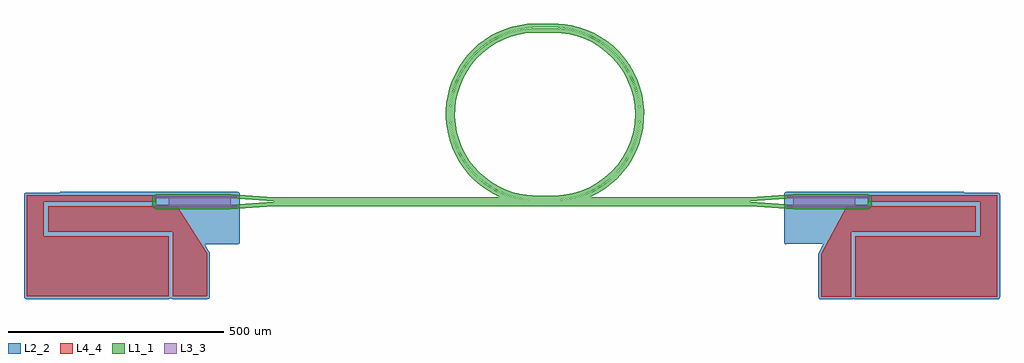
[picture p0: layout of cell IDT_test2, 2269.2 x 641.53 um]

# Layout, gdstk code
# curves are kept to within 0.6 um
import gdstk
lib = gdstk.Library(unit=1e-6, precision=1e-09)
def P(c, l, *ps):  # polygons
    for p in ps: c.add(gdstk.Polygon(p, *l))
L1_1 = (1, 1)
L2_2 = (2, 2)
L3_3 = (3, 3)
L4_4 = (4, 4)

idt_test2 = lib.new_cell('IDT_test2')
P(idt_test2, L1_1, [(-1552.58,-12.702),(-1557.944,-10.48),(-1561.169,-5.653),(-1561.552,13.23),(-1558.671,19.321),(-1555.427,21.489),(-1551.6,22.25),(-1378.8,22.25),(-1278.455,15.35),(-752.446,15.35),(-768.448,23.132),(-784.098,32.477),(-798.784,43.064),(-812.596,54.958),(-825.329,68.002),(-836.886,82.098),(-847.18,97.14),(-854.999,110.812),(-862.743,127.313),(-869.031,144.422),(-873.788,161.89),(-877.045,179.824),(-878.739,197.973),(-878.857,216.201),(-877.399,234.37),(-874.877,249.916),(-870.518,267.615),(-864.645,284.871),(-857.357,301.443),(-848.608,317.434),(-838.509,332.609),(-828.755,344.973),(-816.349,358.328),(-802.93,370.481),(-788.415,381.507),(-773.001,391.237),(-759.049,398.542),(-742.272,405.669),(-725,411.299),(-725,400.898),(-741.137,395.398),(-757.03,388.408),(-770.129,381.342),(-784.698,371.898),(-796.497,362.825),(-809.366,351.17),(-821.179,338.446),(-831.848,324.748),(-841.292,310.179),(-848.358,297.08),(-859.486,269.494),(-864.049,252.742),(-866.795,238.114),(-869,208.45),(-866.795,178.786),(-864.049,164.158),(-859.486,147.406),(-848.358,119.82),(-841.292,106.721),(-831.848,92.152),(-822.775,80.353),(-811.12,67.484),(-798.396,55.671),(-784.698,45.002),(-770.129,35.558),(-757.03,28.492),(-741.137,21.502),(-725,16.002),(-725,5.35),(-1278.8,5.35),(-1378.8,12.25),(-1551.6,12.25),(-1551.6,-2.75),(-1378.8,-2.75),(-1278.8,4.15),(-725,4.15),(-725,-5.85),(-1278.455,-5.85),(-1378.8,-12.75)],
  [(-707.309,415.424),(-689.266,418.014),(-671.067,419.033),(-618.047,418.795),(-602.48,417.449),(-587.055,414.952),(-569.354,410.603),(-552.095,404.74),(-535.407,397.407),(-519.416,388.658),(-504.241,378.559),(-489.904,367.104),(-474.993,352.736),(-463.014,338.834),(-451.01,321.962),(-441.859,306.198),(-434.057,289.587),(-427.769,272.478),(-422.451,252.466),(-419.417,234.493),(-417.943,216.201),(-418.199,195.496),(-420.125,177.246),(-424.196,156.944),(-429.455,139.362),(-436.174,122.418),(-445.552,103.957),(-455.272,88.537),(-466.369,73.92),(-480.363,58.659),(-493.966,46.34),(-510.535,33.922),(-526.176,24.324),(-544.354,15.35),(-171.545,15.35),(-71.2,22.25),(101.6,22.25),(105.427,21.489),(108.671,19.321),(110.839,16.077),(111.6,12.25),(111.6,-2.75),(110.839,-6.577),(107.156,-11.065),(101.6,-12.75),(-71.2,-12.75),(-171.545,-5.85),(-725,-5.85),(-725,4.15),(-171.2,4.15),(-71.2,-2.75),(101.6,-2.75),(101.6,12.25),(-71.2,12.25),(-171.2,5.35),(-725,5.35),(-725,16.002),(-700.516,10.438),(-675.842,7.988),(-620.958,7.988),(-593.838,10.85),(-572.101,15.912),(-553.356,22.416),(-535.346,30.739),(-518.245,40.801),(-500.303,54.075),(-482.237,71.058),(-466.403,90.139),(-454.263,108.867),(-443.308,131.111),(-435.862,152.151),(-430.388,176.334),(-427.938,201.008),(-428.551,225.796),(-431.715,247.889),(-438.083,271.853),(-446.304,292.602),(-458.077,314.424),(-472.452,334.627),(-489.21,352.903),(-506.118,367.471),(-528.817,382.587),(-551.061,393.542),(-574.487,401.669),(-598.736,406.845),(-623.438,408.989),(-678.32,408.805),(-702.962,406.05),(-725,400.898),(-725,411.299)],
  [(-668.4,9.05),(-688.098,10.025),(-707.603,12.942),(-726.725,17.771),(-747.546,25.43),(-765.239,34.144),(-784.002,45.98),(-799.487,58.195),(-813.689,71.879),(-826.469,86.9),(-837.704,103.11),(-847.282,120.35),(-855.11,138.452),(-861.112,157.239),(-865.608,178.963),(-867.556,198.589),(-867.556,218.311),(-865.608,237.937),(-861.73,257.274),(-855.961,276.134),(-848.358,294.331),(-838.994,311.688),(-827.961,328.036),(-813.689,345.021),(-799.487,358.705),(-784.002,370.92),(-765.239,382.756),(-747.546,391.47),(-729.079,398.393),(-710.018,403.458),(-690.551,406.616),(-673.332,407.789),(-648.419,407.85),(-648.419,397.783),(-675.426,397.719),(-694.089,396.1),(-710.219,393.175),(-728.263,388.141),(-745.721,381.348),(-762.423,372.864),(-778.205,362.772),(-792.913,351.17),(-806.402,338.171),(-818.542,323.904),(-829.213,308.507),(-838.311,292.132),(-845.746,274.938),(-851.447,257.093),(-855.357,238.773),(-857.279,222.493),(-857.742,203.765),(-856.353,185.084),(-853.125,166.631),(-848.091,148.587),(-841.298,131.129),(-832.814,114.427),(-824.068,100.562),(-812.649,85.712),(-799.818,72.063),(-787.532,61.21),(-772.404,50.161),(-756.259,40.661),(-741.421,33.692),(-723.8,27.334),(-707.931,23.222),(-691.766,20.497),(-677.767,19.282),(-648.419,19.159),(-648.419,9.05)],
  [(-648.4,9.05),(-648.419,19.159),(-626.057,19.065),(-605.034,20.497),(-584.299,24.256),(-564.111,30.295),(-544.718,38.539),(-526.361,48.887),(-509.268,61.21),(-493.648,75.355),(-479.697,91.148),(-467.587,108.393),(-457.467,126.876),(-449.464,146.369),(-443.675,166.631),(-440.172,187.41),(-439,208.45),(-440.172,229.49),(-443.675,250.269),(-448.709,268.313),(-456.471,287.904),(-466.362,306.511),(-476.841,322.038),(-490.398,338.171),(-505.662,352.699),(-520.512,364.118),(-538.473,375.139),(-555.379,383.208),(-573,389.566),(-591.163,394.153),(-609.69,396.923),(-648.419,397.783),(-648.419,407.85),(-608.702,406.875),(-589.197,403.958),(-570.075,399.129),(-551.524,392.435),(-533.724,383.94),(-516.852,373.729),(-501.07,361.902),(-486.534,348.572),(-473.385,333.873),(-461.754,317.946),(-451.752,300.948),(-443.479,283.045),(-437.014,264.412),(-432.422,245.232),(-429.975,228.148),(-429,208.45),(-429.975,188.752),(-432.422,171.668),(-437.014,152.488),(-443.479,133.855),(-451.752,115.952),(-461.754,98.954),(-473.385,83.027),(-486.534,68.328),(-501.07,54.998),(-516.852,43.171),(-533.724,32.96),(-551.524,24.465),(-570.075,17.771),(-589.197,12.942),(-606.249,10.284),(-623.468,9.111)])
P(idt_test2, L2_2, [(68.6,-219.815),(66.428,-221.792),(63.6,-222.5),(-6.4,-222.5),(-9.228,-221.792),(-11.389,-219.833),(-12.4,-216.5),(-12.371,-115.906),(-1.329,-94.5),(-86.4,-94.5),(-89.228,-93.792),(-91.389,-91.833),(-92.4,-88.5),(-92.4,21.5),(-91.692,24.328),(-89.733,26.489),(-86.4,27.5),(323.6,27.5),(328.063,25.5),(404.188,25.471),(408.589,22.833),(409.6,19.5),(409.6,-216.5),(408.892,-219.328),(406.933,-221.489),(403.6,-222.5),(73.6,-222.5),(70.772,-221.792)],
  [(-1778.063,25.5),(-1773.6,27.5),(-1361.858,27.242),(-1358.611,24.833),(-1357.6,21.5),(-1357.858,-90.242),(-1359.794,-93.138),(-1363.012,-94.471),(-1439.852,-94.5),(-1427.627,-114.934),(-1427.6,-215.5),(-1428.611,-218.833),(-1431.858,-221.242),(-1513.6,-221.5),(-1516.428,-220.792),(-1518.6,-218.815),(-1520.772,-220.792),(-1523.6,-221.5),(-1855.342,-221.242),(-1858.589,-218.833),(-1859.6,-215.5),(-1859.342,21.242),(-1857.406,24.138),(-1854.188,25.471)])
P(idt_test2, L3_3, [(-1498.6,-3),(-1498.6,11.75),(-1498.155,11.75),(-1498.155,-3),(-1496.8,-3),(-1496.8,11.75),(-1496.355,11.75),(-1496.355,-3),(-1495,-3),(-1495,11.75),(-1494.555,11.75),(-1494.555,-3),(-1493.2,-3),(-1493.2,11.75),(-1492.755,11.75),(-1492.755,-3),(-1491.4,-3),(-1491.4,11.75),(-1490.955,11.75),(-1490.955,-3),(-1489.6,-3),(-1489.6,11.75),(-1489.155,11.75),(-1489.155,-3),(-1487.8,-3),(-1487.8,11.75),(-1487.355,11.75),(-1487.355,-3),(-1486,-3),(-1486,11.75),(-1485.555,11.75),(-1485.555,-3),(-1484.2,-3),(-1484.2,11.75),(-1483.755,11.75),(-1483.755,-3),(-1482.4,-3),(-1482.4,11.75),(-1481.955,11.75),(-1481.955,-3),(-1480.6,-3),(-1480.6,11.75),(-1480.155,11.75),(-1480.155,-3),(-1478.8,-3),(-1478.8,11.75),(-1478.355,11.75),(-1478.355,-3),(-1477,-3),(-1477,11.75),(-1476.555,11.75),(-1476.555,-3),(-1475.2,-3),(-1475.2,11.75),(-1474.755,11.75),(-1474.755,-3),(-1473.4,-3),(-1473.4,11.75),(-1472.955,11.75),(-1472.955,-3),(-1471.6,-3),(-1471.6,11.75),(-1471.155,11.75),(-1471.155,-3),(-1469.8,-3),(-1469.8,11.75),(-1469.355,11.75),(-1469.355,-3),(-1468,-3),(-1468,11.75),(-1467.555,11.75),(-1467.555,-3),(-1466.2,-3),(-1466.2,11.75),(-1465.755,11.75),(-1465.755,-3),(-1464.4,-3),(-1464.4,11.75),(-1463.955,11.75),(-1463.955,-3),(-1462.6,-3),(-1462.6,11.75),(-1462.155,11.75),(-1462.155,-3),(-1460.8,-3),(-1460.8,11.75),(-1460.355,11.75),(-1460.355,-3),(-1459,-3),(-1459,11.75),(-1458.555,11.75),(-1458.555,-3),(-1457.2,-3),(-1457.2,11.75),(-1456.755,11.75),(-1456.755,-3),(-1455.4,-3),(-1455.4,11.75),(-1454.955,11.75),(-1454.955,-3),(-1453.6,-3),(-1453.6,11.75),(-1453.155,11.75),(-1453.155,-3),(-1451.8,-3),(-1451.8,11.75),(-1451.355,11.75),(-1451.355,-3),(-1450,-3),(-1450,11.75),(-1449.555,11.75),(-1449.555,-3),(-1448.2,-3),(-1448.2,11.75),(-1447.755,11.75),(-1447.755,-3),(-1446.4,-3),(-1446.4,11.75),(-1445.955,11.75),(-1445.955,-3),(-1444.6,-3),(-1444.6,11.75),(-1444.155,11.75),(-1444.155,-3),(-1442.8,-3),(-1442.8,11.75),(-1442.355,11.75),(-1442.355,-3),(-1441,-3),(-1441,11.75),(-1440.555,11.75),(-1440.555,-3),(-1439.2,-3),(-1439.2,11.75),(-1438.755,11.75),(-1438.755,-3),(-1437.4,-3),(-1437.4,11.75),(-1436.955,11.75),(-1436.955,-3),(-1435.6,-3),(-1435.6,11.75),(-1435.155,11.75),(-1435.155,-3),(-1433.8,-3),(-1433.8,11.75),(-1433.355,11.75),(-1433.355,-3),(-1432,-3),(-1432,11.75),(-1431.555,11.75),(-1431.555,-3),(-1430.2,-3),(-1430.2,11.75),(-1429.755,11.75),(-1429.755,-3),(-1428.4,-3),(-1428.4,11.75),(-1427.955,11.75),(-1427.955,-3),(-1426.6,-3),(-1426.6,11.75),(-1426.155,11.75),(-1426.155,-3),(-1424.8,-3),(-1424.8,11.75),(-1424.355,11.75),(-1424.355,-3),(-1423,-3),(-1423,11.75),(-1422.555,11.75),(-1422.555,-3),(-1421.2,-3),(-1421.2,11.75),(-1420.755,11.75),(-1420.755,-3),(-1419.4,-3),(-1419.4,11.75),(-1418.955,11.75),(-1418.955,-3),(-1417.6,-3),(-1417.6,11.75),(-1417.155,11.75),(-1417.155,-3),(-1415.8,-3),(-1415.8,11.75),(-1415.355,11.75),(-1415.355,-3),(-1414,-3),(-1414,11.75),(-1413.555,11.75),(-1413.555,-3),(-1412.2,-3),(-1412.2,11.75),(-1411.755,11.75),(-1411.755,-3),(-1410.4,-3),(-1410.4,11.75),(-1409.955,11.75),(-1409.955,-3),(-1408.6,-3),(-1408.6,11.75),(-1408.155,11.75),(-1408.155,-3),(-1406.8,-3),(-1406.8,11.75),(-1406.355,11.75),(-1406.355,-3),(-1405,-3),(-1405,11.75),(-1404.555,11.75),(-1404.555,-3),(-1403.2,-3),(-1403.2,11.75),(-1402.755,11.75),(-1402.755,-3),(-1401.4,-3),(-1401.4,11.75),(-1400.955,11.75),(-1400.955,-3),(-1399.6,-3),(-1399.6,11.75),(-1399.155,11.75),(-1399.155,-3),(-1397.8,-3),(-1397.8,11.75),(-1397.355,11.75),(-1397.355,-3),(-1396,-3),(-1396,11.75),(-1395.555,11.75),(-1395.555,-3),(-1394.2,-3),(-1394.2,11.75),(-1393.755,11.75),(-1393.755,-3),(-1392.4,-3),(-1392.4,11.75),(-1391.955,11.75),(-1391.955,-3),(-1390.6,-3),(-1390.6,11.75),(-1390.155,11.75),(-1390.155,-3),(-1388.8,-3),(-1388.8,11.75),(-1388.355,11.75),(-1388.355,-3),(-1387,-3),(-1387,11.75),(-1386.555,11.75),(-1386.555,-3),(-1385.2,-3),(-1385.2,11.75),(-1384.755,11.75),(-1384.755,-3),(-1383.4,-3),(-1383.4,11.75),(-1382.955,11.75),(-1382.955,-3),(-1381.6,-3),(-1381.6,11.75),(-1381.155,11.75),(-1381.155,-3),(-1379.8,-3),(-1379.8,11.75),(-1379.355,11.75),(-1379.355,-3),(-1363.6,-3),(-1363.6,-8),(-1555.6,-8),(-1555.6,-3),(-1522,-3),(-1522,11.75),(-1521.555,11.75),(-1521.555,-3),(-1520.2,-3),(-1520.2,11.75),(-1519.755,11.75),(-1519.755,-3),(-1518.4,-3),(-1518.4,11.75),(-1517.955,11.75),(-1517.955,-3),(-1516.6,-3),(-1516.6,11.75),(-1516.155,11.75),(-1516.155,-3),(-1514.8,-3),(-1514.8,11.75),(-1514.355,11.75),(-1514.355,-3),(-1513,-3),(-1513,11.75),(-1512.555,11.75),(-1512.555,-3),(-1511.2,-3),(-1511.2,11.75),(-1510.755,11.75),(-1510.755,-3),(-1509.4,-3),(-1509.4,11.75),(-1508.955,11.75),(-1508.955,-3),(-1507.6,-3),(-1507.6,11.75),(-1507.155,11.75),(-1507.155,-3),(-1505.8,-3),(-1505.8,11.75),(-1505.355,11.75),(-1505.355,-3),(-1504,-3),(-1504,11.75),(-1503.555,11.75),(-1503.555,-3),(-1502.2,-3),(-1502.2,11.75),(-1501.755,11.75),(-1501.755,-3),(-1500.4,-3),(-1500.4,11.75),(-1499.955,11.75),(-1499.955,-3),(-1498.6,-3)],
  [(-68.845,11.75),(-68.4,11.75),(-68.4,-3),(-67.045,-3),(-67.045,11.75),(-66.6,11.75),(-66.6,-3),(-65.245,-3),(-65.245,11.75),(-64.8,11.75),(-64.8,-3),(-63.445,-3),(-63.445,11.75),(-63,11.75),(-63,-3),(-61.645,-3),(-61.645,11.75),(-61.2,11.75),(-61.2,-3),(-59.845,-3),(-59.845,11.75),(-59.4,11.75),(-59.4,-3),(-58.045,-3),(-58.045,11.75),(-57.6,11.75),(-57.6,-3),(-56.245,-3),(-56.245,11.75),(-55.8,11.75),(-55.8,-3),(-54.445,-3),(-54.445,11.75),(-54,11.75),(-54,-3),(-52.645,-3),(-52.645,11.75),(-52.2,11.75),(-52.2,-3),(-50.845,-3),(-50.845,11.75),(-50.4,11.75),(-50.4,-3),(-49.045,-3),(-49.045,11.75),(-48.6,11.75),(-48.6,-3),(-47.245,-3),(-47.245,11.75),(-46.8,11.75),(-46.8,-3),(-45.445,-3),(-45.445,11.75),(-45,11.75),(-45,-3),(-43.645,-3),(-43.645,11.75),(-43.2,11.75),(-43.2,-3),(-41.845,-3),(-41.845,11.75),(-41.4,11.75),(-41.4,-3),(-40.045,-3),(-40.045,11.75),(-39.6,11.75),(-39.6,-3),(-38.245,-3),(-38.245,11.75),(-37.8,11.75),(-37.8,-3),(-36.445,-3),(-36.445,11.75),(-36,11.75),(-36,-3),(-34.645,-3),(-34.645,11.75),(-34.2,11.75),(-34.2,-3),(-32.845,-3),(-32.845,11.75),(-32.4,11.75),(-32.4,-3),(-31.045,-3),(-31.045,11.75),(-30.6,11.75),(-30.6,-3),(-29.245,-3),(-29.245,11.75),(-28.8,11.75),(-28.8,-3),(-27.445,-3),(-27.445,11.75),(-27,11.75),(-27,-3),(-25.645,-3),(-25.645,11.75),(-25.2,11.75),(-25.2,-3),(-23.845,-3),(-23.845,11.75),(-23.4,11.75),(-23.4,-3),(-22.045,-3),(-22.045,11.75),(-21.6,11.75),(-21.6,-3),(-20.245,-3),(-20.245,11.75),(-19.8,11.75),(-19.8,-3),(-18.445,-3),(-18.445,11.75),(-18,11.75),(-18,-3),(-16.645,-3),(-16.645,11.75),(-16.2,11.75),(-16.2,-3),(-14.845,-3),(-14.845,11.75),(-14.4,11.75),(-14.4,-3),(-13.045,-3),(-13.045,11.75),(-12.6,11.75),(-12.6,-3),(-11.245,-3),(-11.245,11.75),(-10.8,11.75),(-10.8,-3),(-9.445,-3),(-9.445,11.75),(-9,11.75),(-9,-3),(-7.645,-3),(-7.645,11.75),(-7.2,11.75),(-7.2,-3),(-5.845,-3),(-5.845,11.75),(-5.4,11.75),(-5.4,-3),(-4.045,-3),(-4.045,11.75),(-3.6,11.75),(-3.6,-3),(-2.245,-3),(-2.245,11.75),(-1.8,11.75),(-1.8,-3),(-0.445,-3),(-0.445,11.75),(0,11.75),(0,-3),(1.355,-3),(1.355,11.75),(1.8,11.75),(1.8,-3),(3.155,-3),(3.155,11.75),(3.6,11.75),(3.6,-3),(4.955,-3),(4.955,11.75),(5.4,11.75),(5.4,-3),(6.755,-3),(6.755,11.75),(7.2,11.75),(7.2,-3),(8.555,-3),(8.555,11.75),(9,11.75),(9,-3),(10.355,-3),(10.355,11.75),(10.8,11.75),(10.8,-3),(12.155,-3),(12.155,11.75),(12.6,11.75),(12.6,-3),(13.955,-3),(13.955,11.75),(14.4,11.75),(14.4,-3),(15.755,-3),(15.755,11.75),(16.2,11.75),(16.2,-3),(17.555,-3),(17.555,11.75),(18,11.75),(18,-3),(19.355,-3),(19.355,11.75),(19.8,11.75),(19.8,-3),(21.155,-3),(21.155,11.75),(21.6,11.75),(21.6,-3),(22.955,-3),(22.955,11.75),(23.4,11.75),(23.4,-3),(24.755,-3),(24.755,11.75),(25.2,11.75),(25.2,-3),(26.555,-3),(26.555,11.75),(27,11.75),(27,-3),(28.355,-3),(28.355,11.75),(28.8,11.75),(28.8,-3),(30.155,-3),(30.155,11.75),(30.6,11.75),(30.6,-3),(31.955,-3),(31.955,11.75),(32.4,11.75),(32.4,-3),(33.755,-3),(33.755,11.75),(34.2,11.75),(34.2,-3),(35.555,-3),(35.555,11.75),(36,11.75),(36,-3),(37.355,-3),(37.355,11.75),(37.8,11.75),(37.8,-3),(39.155,-3),(39.155,11.75),(39.6,11.75),(39.6,-3),(40.955,-3),(40.955,11.75),(41.4,11.75),(41.4,-3),(42.755,-3),(42.755,11.75),(43.2,11.75),(43.2,-3),(44.555,-3),(44.555,11.75),(45,11.75),(45,-3),(46.355,-3),(46.355,11.75),(46.8,11.75),(46.8,-3),(48.155,-3),(48.155,11.75),(48.6,11.75),(48.6,-3),(49.955,-3),(49.955,11.75),(50.4,11.75),(50.4,-3),(51.755,-3),(51.755,11.75),(52.2,11.75),(52.2,-3),(53.555,-3),(53.555,11.75),(54,11.75),(54,-3),(55.355,-3),(55.355,11.75),(55.8,11.75),(55.8,-3),(57.155,-3),(57.155,11.75),(57.6,11.75),(57.6,-3),(58.955,-3),(58.955,11.75),(59.4,11.75),(59.4,-3),(60.755,-3),(60.755,11.75),(61.2,11.75),(61.2,-3),(62.555,-3),(62.555,11.75),(63,11.75),(63,-3),(64.355,-3),(64.355,11.75),(64.8,11.75),(64.8,-3),(66.155,-3),(66.155,11.75),(66.6,11.75),(66.6,-3),(67.955,-3),(67.955,11.75),(68.4,11.75),(68.4,-3),(69.755,-3),(69.755,11.75),(70.2,11.75),(70.2,-3),(71.555,-3),(71.555,11.75),(72,11.75),(72,-3),(105.6,-3),(105.6,-8),(-86.4,-8),(-86.4,-3),(-70.645,-3),(-70.645,11.75),(-70.2,11.75),(-70.2,-3),(-68.845,-3),(-68.845,11.75)],
  [(-1495.455,-2.25),(-1495.9,-2.25),(-1495.9,12.5),(-1497.255,12.5),(-1497.255,-2.25),(-1497.7,-2.25),(-1497.7,12.5),(-1499.055,12.5),(-1499.055,-2.25),(-1499.5,-2.25),(-1499.5,12.5),(-1500.855,12.5),(-1500.855,-2.25),(-1501.3,-2.25),(-1501.3,12.5),(-1502.655,12.5),(-1502.655,-2.25),(-1503.1,-2.25),(-1503.1,12.5),(-1504.455,12.5),(-1504.455,-2.25),(-1504.9,-2.25),(-1504.9,12.5),(-1506.255,12.5),(-1506.255,-2.25),(-1506.7,-2.25),(-1506.7,12.5),(-1508.055,12.5),(-1508.055,-2.25),(-1508.5,-2.25),(-1508.5,12.5),(-1509.855,12.5),(-1509.855,-2.25),(-1510.3,-2.25),(-1510.3,12.5),(-1511.655,12.5),(-1511.655,-2.25),(-1512.1,-2.25),(-1512.1,12.5),(-1513.455,12.5),(-1513.455,-2.25),(-1513.9,-2.25),(-1513.9,12.5),(-1515.255,12.5),(-1515.255,-2.25),(-1515.7,-2.25),(-1515.7,12.5),(-1517.055,12.5),(-1517.055,-2.25),(-1517.5,-2.25),(-1517.5,12.5),(-1518.855,12.5),(-1518.855,-2.25),(-1519.3,-2.25),(-1519.3,12.5),(-1520.655,12.5),(-1520.655,-2.25),(-1521.1,-2.25),(-1521.1,12.5),(-1522.455,12.5),(-1522.455,-2.25),(-1522.9,-2.25),(-1522.9,12.5),(-1555.6,12.5),(-1555.6,17.5),(-1363.6,17.5),(-1363.6,12.5),(-1380.255,12.5),(-1380.255,-2.25),(-1380.7,-2.25),(-1380.7,12.5),(-1382.055,12.5),(-1382.055,-2.25),(-1382.5,-2.25),(-1382.5,12.5),(-1383.855,12.5),(-1383.855,-2.25),(-1384.3,-2.25),(-1384.3,12.5),(-1385.655,12.5),(-1385.655,-2.25),(-1386.1,-2.25),(-1386.1,12.5),(-1387.455,12.5),(-1387.455,-2.25),(-1387.9,-2.25),(-1387.9,12.5),(-1389.255,12.5),(-1389.255,-2.25),(-1389.7,-2.25),(-1389.7,12.5),(-1391.055,12.5),(-1391.055,-2.25),(-1391.5,-2.25),(-1391.5,12.5),(-1392.855,12.5),(-1392.855,-2.25),(-1393.3,-2.25),(-1393.3,12.5),(-1394.655,12.5),(-1394.655,-2.25),(-1395.1,-2.25),(-1395.1,12.5),(-1396.455,12.5),(-1396.455,-2.25),(-1396.9,-2.25),(-1396.9,12.5),(-1398.255,12.5),(-1398.255,-2.25),(-1398.7,-2.25),(-1398.7,12.5),(-1400.055,12.5),(-1400.055,-2.25),(-1400.5,-2.25),(-1400.5,12.5),(-1401.855,12.5),(-1401.855,-2.25),(-1402.3,-2.25),(-1402.3,12.5),(-1403.655,12.5),(-1403.655,-2.25),(-1404.1,-2.25),(-1404.1,12.5),(-1405.455,12.5),(-1405.455,-2.25),(-1405.9,-2.25),(-1405.9,12.5),(-1407.255,12.5),(-1407.255,-2.25),(-1407.7,-2.25),(-1407.7,12.5),(-1409.055,12.5),(-1409.055,-2.25),(-1409.5,-2.25),(-1409.5,12.5),(-1410.855,12.5),(-1410.855,-2.25),(-1411.3,-2.25),(-1411.3,12.5),(-1412.655,12.5),(-1412.655,-2.25),(-1413.1,-2.25),(-1413.1,12.5),(-1414.455,12.5),(-1414.455,-2.25),(-1414.9,-2.25),(-1414.9,12.5),(-1416.255,12.5),(-1416.255,-2.25),(-1416.7,-2.25),(-1416.7,12.5),(-1418.055,12.5),(-1418.055,-2.25),(-1418.5,-2.25),(-1418.5,12.5),(-1419.855,12.5),(-1419.855,-2.25),(-1420.3,-2.25),(-1420.3,12.5),(-1421.655,12.5),(-1421.655,-2.25),(-1422.1,-2.25),(-1422.1,12.5),(-1423.455,12.5),(-1423.455,-2.25),(-1423.9,-2.25),(-1423.9,12.5),(-1425.255,12.5),(-1425.255,-2.25),(-1425.7,-2.25),(-1425.7,12.5),(-1427.055,12.5),(-1427.055,-2.25),(-1427.5,-2.25),(-1427.5,12.5),(-1428.855,12.5),(-1428.855,-2.25),(-1429.3,-2.25),(-1429.3,12.5),(-1430.655,12.5),(-1430.655,-2.25),(-1431.1,-2.25),(-1431.1,12.5),(-1432.455,12.5),(-1432.455,-2.25),(-1432.9,-2.25),(-1432.9,12.5),(-1434.255,12.5),(-1434.255,-2.25),(-1434.7,-2.25),(-1434.7,12.5),(-1436.055,12.5),(-1436.055,-2.25),(-1436.5,-2.25),(-1436.5,12.5),(-1437.855,12.5),(-1437.855,-2.25),(-1438.3,-2.25),(-1438.3,12.5),(-1439.655,12.5),(-1439.655,-2.25),(-1440.1,-2.25),(-1440.1,12.5),(-1441.455,12.5),(-1441.455,-2.25),(-1441.9,-2.25),(-1441.9,12.5),(-1443.255,12.5),(-1443.255,-2.25),(-1443.7,-2.25),(-1443.7,12.5),(-1445.055,12.5),(-1445.055,-2.25),(-1445.5,-2.25),(-1445.5,12.5),(-1446.855,12.5),(-1446.855,-2.25),(-1447.3,-2.25),(-1447.3,12.5),(-1448.655,12.5),(-1448.655,-2.25),(-1449.1,-2.25),(-1449.1,12.5),(-1450.455,12.5),(-1450.455,-2.25),(-1450.9,-2.25),(-1450.9,12.5),(-1452.255,12.5),(-1452.255,-2.25),(-1452.7,-2.25),(-1452.7,12.5),(-1454.055,12.5),(-1454.055,-2.25),(-1454.5,-2.25),(-1454.5,12.5),(-1455.855,12.5),(-1455.855,-2.25),(-1456.3,-2.25),(-1456.3,12.5),(-1457.655,12.5),(-1457.655,-2.25),(-1458.1,-2.25),(-1458.1,12.5),(-1459.455,12.5),(-1459.455,-2.25),(-1459.9,-2.25),(-1459.9,12.5),(-1461.255,12.5),(-1461.255,-2.25),(-1461.7,-2.25),(-1461.7,12.5),(-1463.055,12.5),(-1463.055,-2.25),(-1463.5,-2.25),(-1463.5,12.5),(-1464.855,12.5),(-1464.855,-2.25),(-1465.3,-2.25),(-1465.3,12.5),(-1466.655,12.5),(-1466.655,-2.25),(-1467.1,-2.25),(-1467.1,12.5),(-1468.455,12.5),(-1468.455,-2.25),(-1468.9,-2.25),(-1468.9,12.5),(-1470.255,12.5),(-1470.255,-2.25),(-1470.7,-2.25),(-1470.7,12.5),(-1472.055,12.5),(-1472.055,-2.25),(-1472.5,-2.25),(-1472.5,12.5),(-1473.855,12.5),(-1473.855,-2.25),(-1474.3,-2.25),(-1474.3,12.5),(-1475.655,12.5),(-1475.655,-2.25),(-1476.1,-2.25),(-1476.1,12.5),(-1477.455,12.5),(-1477.455,-2.25),(-1477.9,-2.25),(-1477.9,12.5),(-1479.255,12.5),(-1479.255,-2.25),(-1479.7,-2.25),(-1479.7,12.5),(-1481.055,12.5),(-1481.055,-2.25),(-1481.5,-2.25),(-1481.5,12.5),(-1482.855,12.5),(-1482.855,-2.25),(-1483.3,-2.25),(-1483.3,12.5),(-1484.655,12.5),(-1484.655,-2.25),(-1485.1,-2.25),(-1485.1,12.5),(-1486.455,12.5),(-1486.455,-2.25),(-1486.9,-2.25),(-1486.9,12.5),(-1488.255,12.5),(-1488.255,-2.25),(-1488.7,-2.25),(-1488.7,12.5),(-1490.055,12.5),(-1490.055,-2.25),(-1490.5,-2.25),(-1490.5,12.5),(-1491.855,12.5),(-1491.855,-2.25),(-1492.3,-2.25),(-1492.3,12.5),(-1493.655,12.5),(-1493.655,-2.25),(-1494.1,-2.25),(-1494.1,12.5),(-1495.455,12.5),(-1495.455,-2.25)],
  [(-56.7,12.5),(-56.7,-2.25),(-57.145,-2.25),(-57.145,12.5),(-58.5,12.5),(-58.5,-2.25),(-58.945,-2.25),(-58.945,12.5),(-60.3,12.5),(-60.3,-2.25),(-60.745,-2.25),(-60.745,12.5),(-62.1,12.5),(-62.1,-2.25),(-62.545,-2.25),(-62.545,12.5),(-63.9,12.5),(-63.9,-2.25),(-64.345,-2.25),(-64.345,12.5),(-65.7,12.5),(-65.7,-2.25),(-66.145,-2.25),(-66.145,12.5),(-67.5,12.5),(-67.5,-2.25),(-67.945,-2.25),(-67.945,12.5),(-69.3,12.5),(-69.3,-2.25),(-69.745,-2.25),(-69.745,12.5),(-86.4,12.5),(-86.4,17.5),(105.6,17.5),(105.6,12.5),(72.9,12.5),(72.9,-2.25),(72.455,-2.25),(72.455,12.5),(71.1,12.5),(71.1,-2.25),(70.655,-2.25),(70.655,12.5),(69.3,12.5),(69.3,-2.25),(68.855,-2.25),(68.855,12.5),(67.5,12.5),(67.5,-2.25),(67.055,-2.25),(67.055,12.5),(65.7,12.5),(65.7,-2.25),(65.255,-2.25),(65.255,12.5),(63.9,12.5),(63.9,-2.25),(63.455,-2.25),(63.455,12.5),(62.1,12.5),(62.1,-2.25),(61.655,-2.25),(61.655,12.5),(60.3,12.5),(60.3,-2.25),(59.855,-2.25),(59.855,12.5),(58.5,12.5),(58.5,-2.25),(58.055,-2.25),(58.055,12.5),(56.7,12.5),(56.7,-2.25),(56.255,-2.25),(56.255,12.5),(54.9,12.5),(54.9,-2.25),(54.455,-2.25),(54.455,12.5),(53.1,12.5),(53.1,-2.25),(52.655,-2.25),(52.655,12.5),(51.3,12.5),(51.3,-2.25),(50.855,-2.25),(50.855,12.5),(49.5,12.5),(49.5,-2.25),(49.055,-2.25),(49.055,12.5),(47.7,12.5),(47.7,-2.25),(47.255,-2.25),(47.255,12.5),(45.9,12.5),(45.9,-2.25),(45.455,-2.25),(45.455,12.5),(44.1,12.5),(44.1,-2.25),(43.655,-2.25),(43.655,12.5),(42.3,12.5),(42.3,-2.25),(41.855,-2.25),(41.855,12.5),(40.5,12.5),(40.5,-2.25),(40.055,-2.25),(40.055,12.5),(38.7,12.5),(38.7,-2.25),(38.255,-2.25),(38.255,12.5),(36.9,12.5),(36.9,-2.25),(36.455,-2.25),(36.455,12.5),(35.1,12.5),(35.1,-2.25),(34.655,-2.25),(34.655,12.5),(33.3,12.5),(33.3,-2.25),(32.855,-2.25),(32.855,12.5),(31.5,12.5),(31.5,-2.25),(31.055,-2.25),(31.055,12.5),(29.7,12.5),(29.7,-2.25),(29.255,-2.25),(29.255,12.5),(27.9,12.5),(27.9,-2.25),(27.455,-2.25),(27.455,12.5),(26.1,12.5),(26.1,-2.25),(25.655,-2.25),(25.655,12.5),(24.3,12.5),(24.3,-2.25),(23.855,-2.25),(23.855,12.5),(22.5,12.5),(22.5,-2.25),(22.055,-2.25),(22.055,12.5),(20.7,12.5),(20.7,-2.25),(20.255,-2.25),(20.255,12.5),(18.9,12.5),(18.9,-2.25),(18.455,-2.25),(18.455,12.5),(17.1,12.5),(17.1,-2.25),(16.655,-2.25),(16.655,12.5),(15.3,12.5),(15.3,-2.25),(14.855,-2.25),(14.855,12.5),(13.5,12.5),(13.5,-2.25),(13.055,-2.25),(13.055,12.5),(11.7,12.5),(11.7,-2.25),(11.255,-2.25),(11.255,12.5),(9.9,12.5),(9.9,-2.25),(9.455,-2.25),(9.455,12.5),(8.1,12.5),(8.1,-2.25),(7.655,-2.25),(7.655,12.5),(6.3,12.5),(6.3,-2.25),(5.855,-2.25),(5.855,12.5),(4.5,12.5),(4.5,-2.25),(4.055,-2.25),(4.055,12.5),(2.7,12.5),(2.7,-2.25),(2.255,-2.25),(2.255,12.5),(0.9,12.5),(0.9,-2.25),(0.455,-2.25),(0.455,12.5),(-0.9,12.5),(-0.9,-2.25),(-1.345,-2.25),(-1.345,12.5),(-2.7,12.5),(-2.7,-2.25),(-3.145,-2.25),(-3.145,12.5),(-4.5,12.5),(-4.5,-2.25),(-4.945,-2.25),(-4.945,12.5),(-6.3,12.5),(-6.3,-2.25),(-6.745,-2.25),(-6.745,12.5),(-8.1,12.5),(-8.1,-2.25),(-8.545,-2.25),(-8.545,12.5),(-9.9,12.5),(-9.9,-2.25),(-10.345,-2.25),(-10.345,12.5),(-11.7,12.5),(-11.7,-2.25),(-12.145,-2.25),(-12.145,12.5),(-13.5,12.5),(-13.5,-2.25),(-13.945,-2.25),(-13.945,12.5),(-15.3,12.5),(-15.3,-2.25),(-15.745,-2.25),(-15.745,12.5),(-17.1,12.5),(-17.1,-2.25),(-17.545,-2.25),(-17.545,12.5),(-18.9,12.5),(-18.9,-2.25),(-19.345,-2.25),(-19.345,12.5),(-20.7,12.5),(-20.7,-2.25),(-21.145,-2.25),(-21.145,12.5),(-22.5,12.5),(-22.5,-2.25),(-22.945,-2.25),(-22.945,12.5),(-24.3,12.5),(-24.3,-2.25),(-24.745,-2.25),(-24.745,12.5),(-26.1,12.5),(-26.1,-2.25),(-26.545,-2.25),(-26.545,12.5),(-27.9,12.5),(-27.9,-2.25),(-28.345,-2.25),(-28.345,12.5),(-29.7,12.5),(-29.7,-2.25),(-30.145,-2.25),(-30.145,12.5),(-31.5,12.5),(-31.5,-2.25),(-31.945,-2.25),(-31.945,12.5),(-33.3,12.5),(-33.3,-2.25),(-33.745,-2.25),(-33.745,12.5),(-35.1,12.5),(-35.1,-2.25),(-35.545,-2.25),(-35.545,12.5),(-36.9,12.5),(-36.9,-2.25),(-37.345,-2.25),(-37.345,12.5),(-38.7,12.5),(-38.7,-2.25),(-39.145,-2.25),(-39.145,12.5),(-40.5,12.5),(-40.5,-2.25),(-40.945,-2.25),(-40.945,12.5),(-42.3,12.5),(-42.3,-2.25),(-42.745,-2.25),(-42.745,12.5),(-44.1,12.5),(-44.1,-2.25),(-44.545,-2.25),(-44.545,12.5),(-45.9,12.5),(-45.9,-2.25),(-46.345,-2.25),(-46.345,12.5),(-47.7,12.5),(-47.7,-2.25),(-48.145,-2.25),(-48.145,12.5),(-49.5,12.5),(-49.5,-2.25),(-49.945,-2.25),(-49.945,12.5),(-51.3,12.5),(-51.3,-2.25),(-51.745,-2.25),(-51.745,12.5),(-53.1,12.5),(-53.1,-2.25),(-53.545,-2.25),(-53.545,12.5),(-54.9,12.5),(-54.9,-2.25),(-55.345,-2.25),(-55.345,12.5),(-56.7,12.5)])
P(idt_test2, L4_4, [(63.6,-65.5),(63.6,-216.5),(-6.4,-216.5),(-6.4,-116.5),(53.6,-5.5),(353.6,-5.5),(353.6,-65.5),(63.6,-65.5)],
  [(-1513.6,-215.5),(-1513.6,-65.5),(-1803.6,-65.5),(-1803.6,-5.5),(-1503.6,-5.5),(-1433.6,-115.5),(-1433.6,-215.5),(-1513.6,-215.5)],
  [(73.6,-216.5),(73.6,-75.5),(363.6,-75.5),(363.6,4.5),(101.6,4.5),(101.6,19.5),(403.6,19.5),(403.6,-216.5),(73.6,-216.5)],
  [(-1813.6,-75.5),(-1523.6,-75.5),(-1523.6,-215.5),(-1853.6,-215.5),(-1853.6,19.5),(-1551.6,19.5),(-1551.6,4.5),(-1813.6,4.5),(-1813.6,-75.5)])

lib.write_gds('IDT_test2.gds')
